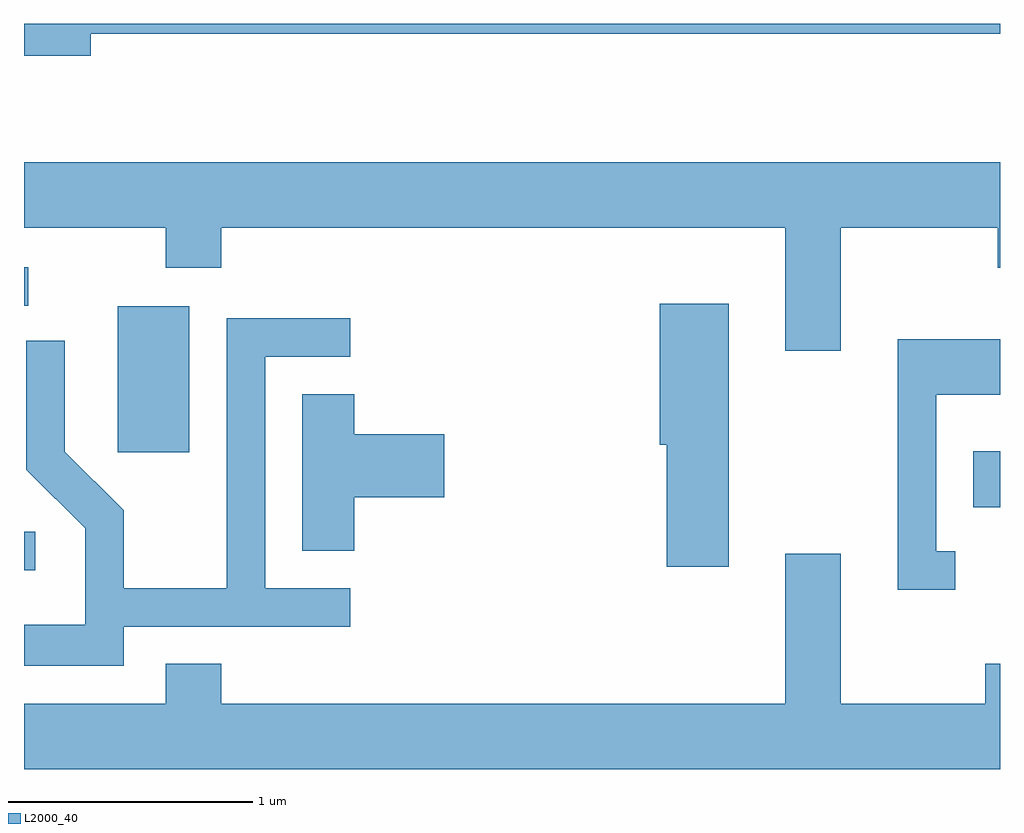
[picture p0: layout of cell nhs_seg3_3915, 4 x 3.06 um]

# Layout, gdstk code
import gdstk
lib = gdstk.Library(unit=1e-6, precision=1e-09)
def R(c, l, rs):  # rectangles x0, y0, x1, y1
    for r in rs: c.add(gdstk.rectangle(r[:2], r[2:], *l))
def P(c, l, *ps):  # polygons
    for p in ps: c.add(gdstk.Polygon(p, *l))
L2000_40 = (2000, 40)

nhs_seg3_3915 = lib.new_cell('nhs_seg3_3915')
R(nhs_seg3_3915, L2000_40, [(299.611,1195.651,299.658,1195.809), (303.501,1195.911,303.611,1196.139), (299.996,1196.136,300.289,1196.734), (299.611,1196.736,299.628,1196.894)])
P(nhs_seg3_3915, L2000_40, [(299.884,1197.851),(303.611,1197.851),(303.611,1197.892),(299.611,1197.892),(299.611,1197.761),(299.884,1197.761)],
  [(302.959,1197.056),(303.601,1197.056),(303.601,1196.891),(303.611,1196.891),(303.611,1197.324),(299.611,1197.324),(299.611,1197.056),(300.191,1197.056),(300.191,1196.891),(300.419,1196.891),(300.419,1197.056),(302.731,1197.056),(302.731,1196.551),(302.959,1196.551)],
  [(302.499,1196.744),(302.216,1196.744),(302.216,1196.166),(302.246,1196.166),(302.246,1195.666),(302.499,1195.666)],
  [(300.019,1195.421),(300.948,1195.421),(300.948,1195.579),(300.599,1195.579),(300.599,1196.526),(300.948,1196.526),(300.948,1196.684),(300.441,1196.684),(300.441,1195.579),(300.019,1195.579),(300.019,1195.897),(299.779,1196.137),(299.779,1196.593),(299.621,1196.593),(299.621,1196.064),(299.861,1195.824),(299.861,1195.429),(299.611,1195.429),(299.611,1195.261),(300.019,1195.261)],
  [(303.428,1195.729),(303.349,1195.729),(303.349,1196.371),(303.611,1196.371),(303.611,1196.599),(303.191,1196.599),(303.191,1195.571),(303.428,1195.571)],
  [(300.964,1195.951),(301.334,1195.951),(301.334,1196.209),(300.964,1196.209),(300.964,1196.374),(300.751,1196.374),(300.751,1195.731),(300.964,1195.731)],
  [(303.611,1195.269),(303.551,1195.269),(303.551,1195.104),(302.959,1195.104),(302.959,1195.719),(302.731,1195.719),(302.731,1195.104),(300.419,1195.104),(300.419,1195.269),(300.191,1195.269),(300.191,1195.104),(299.611,1195.104),(299.611,1194.836),(303.611,1194.836)])

lib.write_gds('nhs_seg3_3915.gds')
